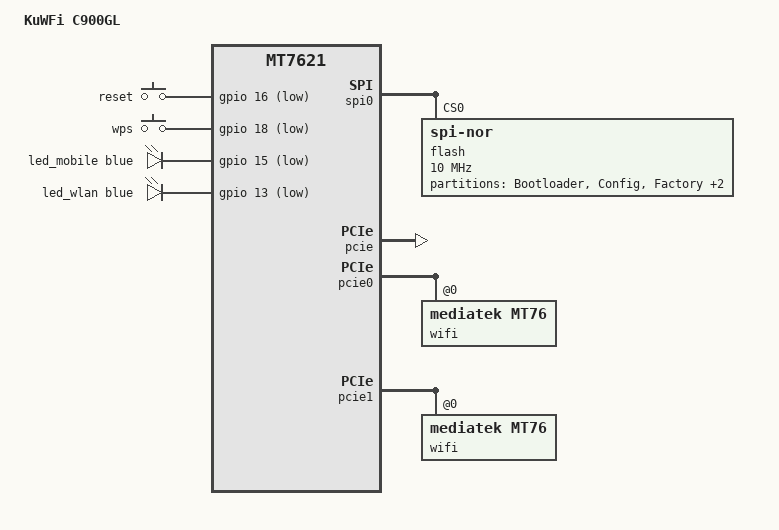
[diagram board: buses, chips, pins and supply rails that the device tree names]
// SPDX-License-Identifier: GPL-2.0-or-later OR MIT

#include "mt7621.dtsi"

#include <dt-bindings/gpio/gpio.h>
#include <dt-bindings/input/input.h>
#include <dt-bindings/leds/common.h>

/ {
	compatible = "kuwfi,c900gl", "mediatek,mt7621-soc";
	model = "KuWFi C900GL";

	aliases {
		led-failsafe = &led_wlan;
		led-upgrade = &led_wlan;
	};

	keys {
		compatible = "gpio-keys";

		reset {
			label = "reset";
			gpios = <&gpio 16 GPIO_ACTIVE_LOW>;
			linux,code = <KEY_RESTART>;
		};

		wps {
			label = "wps";
			gpios = <&gpio 18 GPIO_ACTIVE_LOW>;
			linux,code = <KEY_WPS_BUTTON>;
		};
	};

	leds {
		compatible = "gpio-leds";

		led_mobile: led-0 {
			function = LED_FUNCTION_MOBILE;
			color = <LED_COLOR_ID_BLUE>;
			gpios = <&gpio 15 GPIO_ACTIVE_LOW>;
		};

		led_wlan: led-1 {
			function = LED_FUNCTION_WLAN;
			color = <LED_COLOR_ID_BLUE>;
			gpios = <&gpio 13 GPIO_ACTIVE_LOW>;
			linux,default-trigger = "network";
		};
	};
};

&state_default {
	gpio {
		/* GPIO 16 is in the jtag group, GPIO 18 the wdt pin. */
		groups = "jtag", "wdt";
		function = "gpio";
	};
};

&spi0 {
	status = "okay";

	flash@0 {
		compatible = "jedec,spi-nor";
		reg = <0>;
		spi-max-frequency = <10000000>;

		partitions {
			compatible = "fixed-partitions";
			#address-cells = <1>;
			#size-cells = <1>;

			partition@0 {
				label = "Bootloader";
				reg = <0x000000 0x030000>;
				read-only;
			};

			partition@30000 {
				label = "Config";
				reg = <0x030000 0x010000>;
				read-only;
			};

			partition@40000 {
				label = "Factory";
				reg = <0x040000 0x010000>;
				read-only;

				nvmem-layout {
					compatible = "fixed-layout";
					#address-cells = <1>;
					#size-cells = <1>;

					eeprom_factory_0: eeprom@0 {
						reg = <0x0 0x400>;
					};

					eeprom_factory_8000: eeprom@8000 {
						reg = <0x8000 0x200>;
					};

					/*
					 * One contiguous run of addresses, based
					 * at the one printed on the case: +0 is
					 * 2.4 GHz and the label, +2 lan, +3 wan,
					 * +4 5 GHz.  Both radios read their own
					 * copy out of their EEPROM block.
					 */
					macaddr_factory_4: macaddr@4 {
						compatible = "mac-base";
						reg = <0x4 0x6>;
						#nvmem-cell-cells = <1>;
					};
				};
			};

			partition@50000 {
				compatible = "denx,uimage";
				label = "firmware";
				reg = <0x050000 0xfa0000>;
			};

			partition@ff0000 {
				label = "Second_Config";
				reg = <0xff0000 0x010000>;
				read-only;
			};
		};
	};
};

&pcie {
	status = "okay";
};

&pcie0 {
	wifi@0,0 {
		compatible = "mediatek,mt76";
		reg = <0x0000 0 0 0 0>;
		nvmem-cells = <&eeprom_factory_0>;
		nvmem-cell-names = "eeprom";
	};
};

&pcie1 {
	wifi@0,0 {
		compatible = "mediatek,mt76";
		reg = <0x0000 0 0 0 0>;
		nvmem-cells = <&eeprom_factory_8000>;
		nvmem-cell-names = "eeprom";
		ieee80211-freq-limit = <5000000 6000000>;
	};
};

&gmac0 {
	nvmem-cells = <&macaddr_factory_4 2>;
	nvmem-cell-names = "mac-address";
};

&switch0 {
	ports {
		/* port@4 has no socket on this board. */
		port@0 {
			status = "okay";
			label = "lan3";
		};

		port@1 {
			status = "okay";
			label = "lan2";
		};

		port@2 {
			status = "okay";
			label = "lan1";
		};

		port@3 {
			status = "okay";
			label = "wan";
			nvmem-cells = <&macaddr_factory_4 3>;
			nvmem-cell-names = "mac-address";
		};
	};
};
